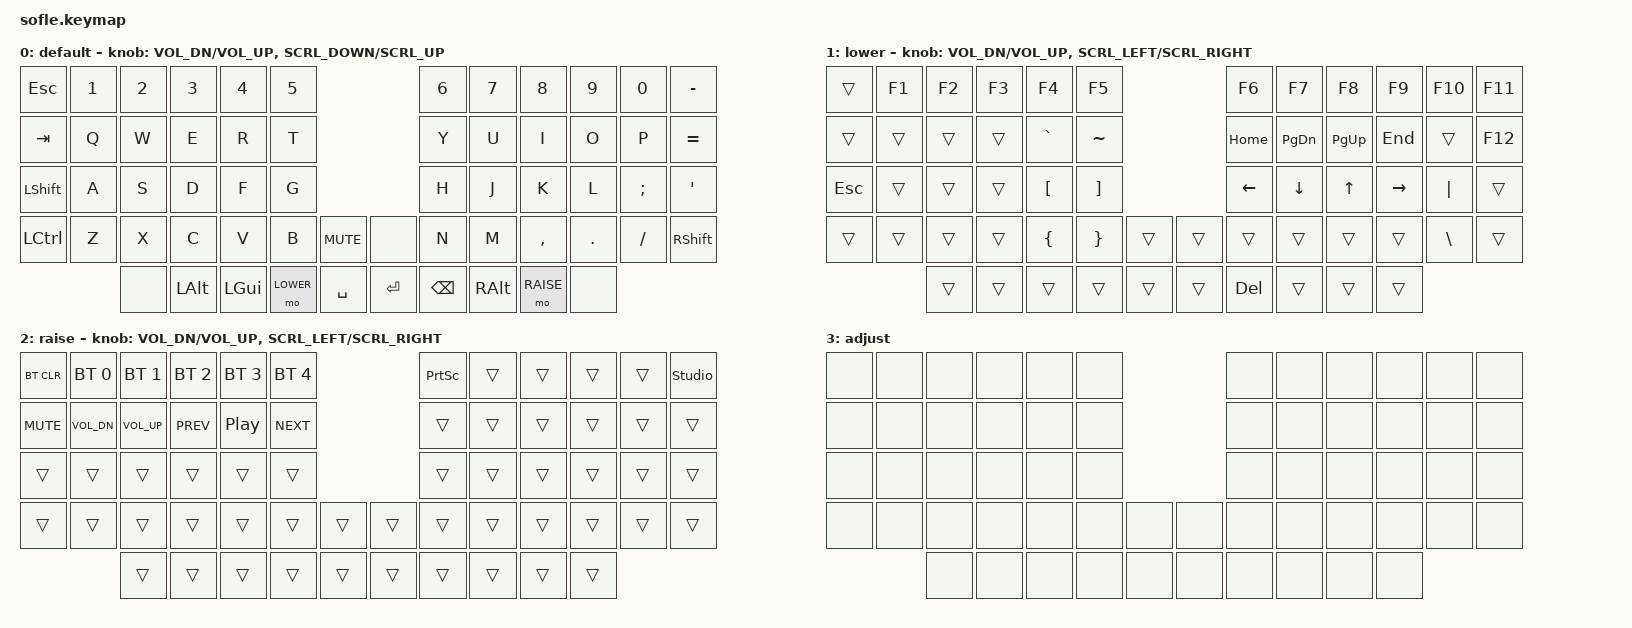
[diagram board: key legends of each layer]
/*
 * Copyright (c) 2020 The ZMK Contributors
 *
 * SPDX-License-Identifier: MIT
 */

#include <behaviors.dtsi>
#include <dt-bindings/zmk/keys.h>
#include <dt-bindings/zmk/bt.h>
#include <dt-bindings/zmk/rgb.h>
#include <dt-bindings/zmk/ext_power.h>
#include <dt-bindings/zmk/pointing.h>

#define BASE 0
#define LOWER 1
#define RAISE 2
#define ADJUST 3

/ {
    behaviors {
        scroll_encoder: scroll_encoder {
            compatible = "zmk,behavior-sensor-rotate-var";
            #sensor-binding-cells = <2>;
            bindings = <&msc>, <&msc>;
        };
    };

    conditional_layers {
        compatible = "zmk,conditional-layers";
        adjust_layer {
            if-layers = <LOWER RAISE>;
            then-layer = <ADJUST>;
        };
    };

    // List of keycodes: https://zmk.dev/docs/keymaps/list-of-keycodes
    keymap {
        compatible = "zmk,keymap";

        default_layer {
            display-name = "default";
                            bindings = <
&kp ESC      &kp N1       &kp N2       &kp N3       &kp N4       &kp N5                                            &kp N6       &kp N7       &kp N8       &kp N9       &kp N0       &kp MINUS    
&kp TAB      &kp Q        &kp W        &kp E        &kp R        &kp T                                             &kp Y        &kp U        &kp I        &kp O        &kp P        &kp EQUAL    
&kp LSHFT    &kp A        &kp S        &kp D        &kp F        &kp G                                             &kp H        &kp J        &kp K        &kp L        &kp SEMI     &kp SQT      
&kp LCTRL    &kp Z        &kp X        &kp C        &kp V        &kp B        &kp C_MUTE              &none        &kp N        &kp M        &kp COMMA    &kp DOT      &kp FSLH     &kp RSHFT    
                          &none        &kp LALT     &kp LGUI     &mo LOWER    &kp SPACE               &kp RET      &kp BSPC     &kp RALT     &mo RAISE    &none        
                            >;

            sensor-bindings = <&inc_dec_kp C_VOL_DN C_VOL_UP &scroll_encoder SCRL_DOWN SCRL_UP>;
        };

        lower_layer {
            display-name = "lower";
                            bindings = <
&trans       &kp F1       &kp F2       &kp F3       &kp F4       &kp F5                                           &kp F6       &kp F7       &kp F8       &kp F9       &kp F10      &kp F11     
&trans       &trans       &trans       &trans       &kp GRAVE    &kp TILDE                                        &kp HOME     &kp PG_DN    &kp PG_UP    &kp END      &trans       &kp F12
&kp ESC      &trans       &trans       &trans       &kp LBKT     &kp RBKT                                         &kp LEFT     &kp DOWN     &kp UP       &kp RIGHT    &kp PIPE     &trans      
&trans       &trans       &trans       &trans       &kp LBRC     &kp RBRC     &trans                 &trans       &trans       &trans       &trans       &trans       &kp BSLH     &trans     
                          &trans       &trans       &trans       &trans       &trans                 &trans       &kp DEL      &trans       &trans       &trans       
                            >;

            sensor-bindings = <&inc_dec_kp C_VOL_DN C_VOL_UP &scroll_encoder SCRL_LEFT SCRL_RIGHT>;
        };

        raise_layer {
            display-name = "raise";
                            bindings = <
&bt BT_CLR   &bt BT_SEL 0 &bt BT_SEL 1 &bt BT_SEL 2 &bt BT_SEL 3 &bt BT_SEL 4                                     &kp PSCRN    &trans       &trans       &trans       &trans       &studio_unlock
&kp C_MUTE   &kp C_VOL_DN &kp C_VOL_UP &kp C_PREV   &kp C_PLAY_PAUSE &kp C_NEXT                                   &trans       &trans       &trans       &trans       &trans       &trans      
&trans       &trans       &trans       &trans       &trans       &trans                                           &trans       &trans       &trans       &trans       &trans       &trans      
&trans       &trans       &trans       &trans       &trans       &trans       &trans                 &trans       &trans       &trans       &trans       &trans       &trans       &trans      
                          &trans       &trans       &trans       &trans       &trans                 &trans       &trans       &trans       &trans       &trans       
                            >;

            sensor-bindings = <&inc_dec_kp C_VOL_DN C_VOL_UP &scroll_encoder SCRL_LEFT SCRL_RIGHT>;
        };

        adjust_layer {
              display-name = "adjust";
          bindings = <
&none        &none        &none        &none        &none        &none                                              &none        &none        &none        &none        &none        &none       
&none        &none        &none        &none        &none        &none                                              &none        &none        &none        &none        &none        &none       
&none        &none        &none        &none        &none        &none                                              &none        &none        &none        &none        &none        &none       
&none        &none        &none        &none        &none        &none        &none                    &none        &none        &none        &none        &none        &none        &none       
                          &none        &none        &none        &none        &none                    &none        &none        &none        &none        &none       
          >;
        };

    };
};
